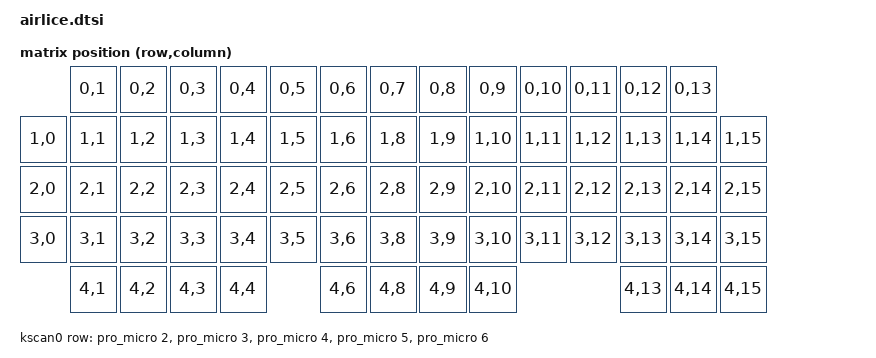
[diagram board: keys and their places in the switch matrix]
#include <physical_layouts.dtsi>
#include <dt-bindings/zmk/matrix_transform.h>

/ {
    chosen {
        zmk,physical-layout = &physical_layout0;
        zmk,kscan = &kscan0;
    };

    kscan0: kscan0 {
        compatible = "zmk,kscan-gpio-matrix";
        diode-direction = "col2row";
        wakeup-source;

        row-gpios
            = <&pro_micro 2 (GPIO_ACTIVE_HIGH | GPIO_PULL_DOWN)>
            , <&pro_micro 3 (GPIO_ACTIVE_HIGH | GPIO_PULL_DOWN)>
            , <&pro_micro 4 (GPIO_ACTIVE_HIGH | GPIO_PULL_DOWN)>
            , <&pro_micro 5 (GPIO_ACTIVE_HIGH | GPIO_PULL_DOWN)>
            , <&pro_micro 6 (GPIO_ACTIVE_HIGH | GPIO_PULL_DOWN)>
            ;

    };
    default_transform: keymap_transform_0 {
        compatible = "zmk,matrix-transform";
        columns = <16>;
        rows = <5>;
        map = <
        RC(0,1) RC(0,2) RC(0,3) RC(0,4) RC(0,5) RC(0,6) RC(0,7)         RC(0,8) RC(0,9) RC(0,10) RC(0,11) RC(0,12) RC(0,13) 
RC(1,0) RC(1,1) RC(1,2) RC(1,3) RC(1,4) RC(1,5) RC(1,6)                 RC(1,8) RC(1,9) RC(1,10) RC(1,11) RC(1,12) RC(1,13) RC(1,14) RC(1,15)
RC(2,0) RC(2,1) RC(2,2) RC(2,3) RC(2,4) RC(2,5) RC(2,6)                 RC(2,8) RC(2,9) RC(2,10) RC(2,11) RC(2,12) RC(2,13) RC(2,14) RC(2, 15)
RC(3,0) RC(3,1) RC(3,2) RC(3,3) RC(3,4) RC(3,5) RC(3,6)                 RC(3,8) RC(3,9) RC(3,10) RC(3,11) RC(3,12) RC(3,13) RC(3,14) RC(3, 15)
        RC(4,1) RC(4,2) RC(4,3) RC(4,4)         RC(4,6)                 RC(4,8) RC(4,9) RC(4,10)                   RC(4,13) RC(4,14) RC(4,15) 
        >;
    };

    physical_layout0: physical_layout_0 {
        compatible = "zmk,physical-layout";
        display-name = "LAYOUT";

        kscan = <&kscan0>;
        transform = <&default_transform>;

        keys  //                     w   h    x    y     rot    rx    ry
            = <&key_physical_attrs 100 100  180    5       0     0     0>
            , <&key_physical_attrs 100 100  280    5       0     0     0>
            , <&key_physical_attrs 100 100  380    0       0     0     0>
            , <&key_physical_attrs 100 100  470   80    1200   805   180>
            , <&key_physical_attrs 100 100  570   80    1200   805   180>
            , <&key_physical_attrs 100 100  670   80    1200   805   180>
            , <&key_physical_attrs 100 100  770   80    1200   805   180>
            , <&key_physical_attrs 100 100  955  125 (-1200)   805   155>
            , <&key_physical_attrs 100 100 1055  125 (-1200)   805   155>
            , <&key_physical_attrs 100 100 1155  125 (-1200)   805   155>
            , <&key_physical_attrs 100 100 1255  125 (-1200)   805   155>
            , <&key_physical_attrs 100 100 1355    0       0     0     0>
            , <&key_physical_attrs 100 100 1455    5       0     0     0>
            , <&key_physical_attrs 150 100 1555    5       0     0     0>
            , <&key_physical_attrs 100 100    0  105       0     0     0>
            , <&key_physical_attrs 150 100  155  105       0     0     0>
            , <&key_physical_attrs 100 100  305  105       0     0     0>
            , <&key_physical_attrs 100 100  420  180    1200   805   180>
            , <&key_physical_attrs 100 100  520  180    1200   805   180>
            , <&key_physical_attrs 100 100  620  180    1200   805   180>
            , <&key_physical_attrs 100 100  720  180    1200   805   180>
            , <&key_physical_attrs 100 100  905  225 (-1200)   805   155>
            , <&key_physical_attrs 100 100 1005  225 (-1200)   805   155>
            , <&key_physical_attrs 100 100 1105  225 (-1200)   805   155>
            , <&key_physical_attrs 100 100 1205  225 (-1200)   805   155>
            , <&key_physical_attrs 100 100 1305  225 (-1200)   805   155>
            , <&key_physical_attrs 100 100 1425  104       0     0     0>
            , <&key_physical_attrs 100 100 1525  104       0     0     0>
            , <&key_physical_attrs 100 100 1625  104       0     0     0>
            , <&key_physical_attrs 100 100 1780  104       0     0     0>
            , <&key_physical_attrs 100 100 1880  104       0     0     0>
            , <&key_physical_attrs 100 100    0  205       0     0     0>
            , <&key_physical_attrs 150 100  155  205       0     0     0>
            , <&key_physical_attrs 100 100  305  205       0     0     0>
            , <&key_physical_attrs 100 100  445  280    1200   805   180>
            , <&key_physical_attrs 100 100  545  280    1200   805   180>
            , <&key_physical_attrs 100 100  645  280    1200   805   180>
            , <&key_physical_attrs 100 100  745  280    1200   805   180>
            , <&key_physical_attrs 100 100  930  325 (-1200)   805   155>
            , <&key_physical_attrs 100 100 1030  325 (-1200)   805   155>
            , <&key_physical_attrs 100 100 1130  325 (-1200)   805   155>
            , <&key_physical_attrs 100 100 1230  325 (-1200)   805   155>
            , <&key_physical_attrs 100 100 1375  204       0     0     0>
            , <&key_physical_attrs 100 100 1475  204       0     0     0>
            , <&key_physical_attrs 150 100 1575  204       0     0     0>
            , <&key_physical_attrs 100 100 1780  204       0     0     0>
            , <&key_physical_attrs 100 100 1880  204       0     0     0>
            , <&key_physical_attrs 100 100    0  305       0     0     0>
            , <&key_physical_attrs 150 100  180  305       0     0     0>
            , <&key_physical_attrs 100 100  330  305       0     0     0>
            , <&key_physical_attrs 100 100  495  380    1200   805   180>
            , <&key_physical_attrs 100 100  595  380    1200   805   180>
            , <&key_physical_attrs 100 100  695  380    1200   805   180>
            , <&key_physical_attrs 100 100  795  380    1200   805   180>
            , <&key_physical_attrs 100 100  955  425 (-1200)   805   155>
            , <&key_physical_attrs 100 100 1055  425 (-1200)   805   155>
            , <&key_physical_attrs 100 100 1155  425 (-1200)   805   155>
            , <&key_physical_attrs 100 100 1255  425 (-1200)   805   155>
            , <&key_physical_attrs 100 100 1425  304       0     0     0>
            , <&key_physical_attrs 150 100 1525  304       0     0     0>
            , <&key_physical_attrs 100 100 1720  345       0     0     0>
            , <&key_physical_attrs 100 100 1880  304       0     0     0>
            , <&key_physical_attrs 150 100  155  405       0     0     0>
            , <&key_physical_attrs 100 100  305  405       0     0     0>
            , <&key_physical_attrs 125 100  495  480    1200   805   180>
            , <&key_physical_attrs 125 100  620  480    1200   805   180>
            , <&key_physical_attrs 150 100  745  480    1200   805   180>
            , <&key_physical_attrs 150 100  840  525 (-1200)   805   155>
            , <&key_physical_attrs 125 100  990  525 (-1200)   805   155>
            , <&key_physical_attrs 125 100 1115  525 (-1200)   805   155>
            , <&key_physical_attrs 100 100 1240  525 (-1200)   805   155>
            , <&key_physical_attrs 125 100 1450  404       0     0     0>
            , <&key_physical_attrs 100 100 1620  445       0     0     0>
            , <&key_physical_attrs 100 100 1720  445       0     0     0>
            , <&key_physical_attrs 100 100 1820  445       0     0     0>
            ;
    };
};
